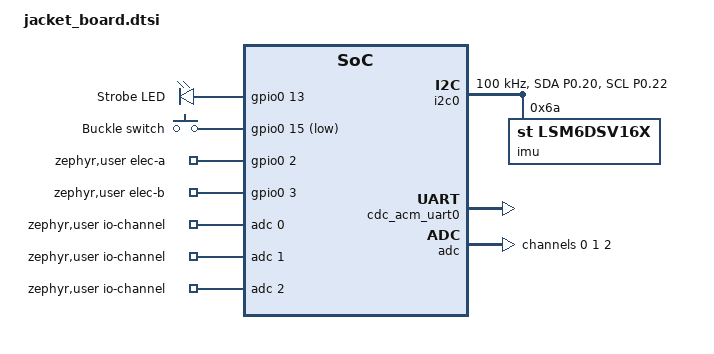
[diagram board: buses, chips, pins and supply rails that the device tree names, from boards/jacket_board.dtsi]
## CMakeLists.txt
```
#
# Smart lifejacket - E73-2G4M08S1C (nRF52840) + LSM6DSV16X
#
cmake_minimum_required(VERSION 3.20.0)

find_package(Zephyr REQUIRED HINTS $ENV{ZEPHYR_BASE})
project(smart_lifejacket)

target_sources(app PRIVATE
  src/main.c
  src/lsm6dsv16x.c
  src/imu.c
  src/water.c
  src/battery.c
  src/strobe.c
  src/jacket_adv.c
  src/jacket_shell.c
)

target_include_directories(app PRIVATE src)
```

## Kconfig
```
#
# Smart lifejacket application options
#

menu "Smart lifejacket application"

config JACKET_DEVICE_NUM
	int "Device number carried in the advertising payload (1-255)"
	default 1
	range 1 255
	help
	  V-PASS 는 이 번호를 "jacket-<n>" 장치 ID 로 매핑한다. 조끼마다
	  다르게 구워서 여러 개를 동시에 운용한다.

comment "BLE advertising"

config JACKET_ADV_INTERVAL_MS
	int "Normal advertising interval while worn [ms]"
	default 500
	help
	  V-PASS 쪽 신호 두절 판정(SIGNAL_LOSS_TIMEOUT 10 s) 대비 충분히
	  촘촘하면 된다. 500 ms 면 두절 판정 전까지 약 20 번의 수신 기회.

config JACKET_ADV_BURST_INTERVAL_MS
	int "Burst advertising interval right after a fall [ms]"
	default 100
	help
	  낙하 감지 직후 입수 전 공중 구간(0.3~0.7 s)이 사실상 마지막 송신
	  기회라서 최대한 촘촘하게 쏜다. BLE 레거시 non-connectable 광고의
	  스펙 하한이 100 ms 라 그 값을 기본으로 한다.

config JACKET_ADV_BURST_DURATION_S
	int "How long the burst rate is kept after a fall [s]"
	default 5

config JACKET_DOFF_ADV_TIMEOUT_S
	int "Keep advertising worn=0 for this long after doffing [s]"
	default 60
	help
	  탈의 알림이 유실되지 않도록 잠시 worn=0 을 계속 광고한 뒤 광고를
	  멈춘다. USB 전원이 없으면 이어서 System OFF 로 들어가고 버클이
	  다시 닫히는 순간 깨어난다.

config JACKET_STORAGE_SLEEP
	bool "Enter System OFF (storage sleep) after the doff advertising timeout"
	default y
	help
	  보관 시 소비전류를 수 µA 로 낮추는 프로덕션 동작. 비활성화하면
	  배터리 구동이어도 잠들지 않고 깨어 있는 채 광고만 멈추며, 버클을
	  다시 채우면 즉시 광고가 재개된다 — SENSE 웨이크업이 불안정한
	  보드의 디버깅이나 시연(배터리 재삽입 없이 재착용) 용도.

comment "Fall detection (IMU, software)"

config JACKET_FREEFALL_THRESHOLD_MG
	int "Free-fall acceleration magnitude threshold [mg]"
	default 400
	help
	  |a| 가 이 값보다 작은 상태가 JACKET_FREEFALL_MIN_MS 이상 이어지면
	  자유낙하(입수 낙하)로 판정한다. 정지 시 |a| ≈ 1000 mg.

config JACKET_FREEFALL_MIN_MS
	int "Minimum free-fall duration [ms]"
	default 100
	help
	  100 ms ≈ 낙하 높이 5 cm. 갑판에서 물까지는 보통 0.3 s 이상이라
	  여유가 있고, 걸음/파도 진동의 순간 저가속은 걸러진다.

config JACKET_IMPACT_THRESHOLD_MG
	int "Impact acceleration magnitude threshold [mg]"
	default 2500
	help
	  ESP8266 버전의 낙상 임계값(2.5 g)과 동일. 자유낙하 없이 크게
	  넘어지는 경우(갑판 위 낙상)를 잡는다.

config JACKET_FALL_COOLDOWN_S
	int "Minimum interval between reported fall events [s]"
	default 3

comment "Water detection (electrodes)"

config JACKET_WATER_PERIOD_MS
	int "Electrode measurement period, normal [ms]"
	default 250

config JACKET_WATER_FAST_PERIOD_MS
	int "Electrode measurement period right after a fall [ms]"
	default 50

config JACKET_WATER_FAST_WINDOW_S
	int "How long the fast rate is kept after a fall [s]"
	default 30

config JACKET_WATER_DELTA_PERMILLE
	int "Wet threshold: rise above dry baseline, in 0.1% of VDD units"
	default 20
	help
	  부팅 시 캡처한 건조 기준선 대비 증가분(Δ)이 이 값 이상이면 젖음.
	  실측(2026-08-16, 수돗물 90초 스윕): 건조 Δ 0~3‰ + 간헐 블립 최대
	  15‰, 젖음 Δ 28~55‰ (역방향 기준; 정방향은 이 보드에서 무반응).
	  기본값 20‰(2.0%VDD)는 건조 블립과 젖음 신호의 정중앙.
	  해수는 전도도가 훨씬 높아 신호가 더 크므로 그대로 잡힌다.

config JACKET_WATER_CONFIRM_COUNT
	int "Consecutive wet readings required"
	default 2

comment "MOB strobe"

config JACKET_MOB_WINDOW_S
	int "Fall→water association window for local MOB latch [s]"
	default 10
	help
	  자유낙하/충격 이벤트 후 이 시간 안에 물이 감지되면 익수 확정으로
	  보고 스트로브를 래치한다 (야간 구조용).

config JACKET_STROBE_PERIOD_MS
	int "Strobe flash period [ms]"
	default 1000
	help
	  SOLAS 구명조끼등 요구(분당 50~70회 점멸) 대역인 1 Hz.

config JACKET_STROBE_ON_MS
	int "Strobe on-time per flash [ms]"
	default 20
	help
	  20 ms 펄스 × 약 100 mA(5.1 V 레일, 22 Ω) 기준 유효광도가 SOLAS
	  0.75 cd 를 충족하는 설계값 (Blondel-Rey 보정 약 1/11). 야간 실측
	  후 시인거리가 부족하면 펄스 폭 또는 전류(R1)를 올린다.

config JACKET_STROBE_DRY_RELEASE_S
	int "Release the strobe latch after this long without water [s]"
	default 300

comment "Battery"

config JACKET_LOW_BATT_MV
	int "Low battery threshold, VDD [mV]"
	default 2200
	help
	  이 아래로 떨어지면 광고 페이로드에 low-batt 플래그를 세우고
	  스트로브 펄스 폭을 절반으로 줄여 브라운아웃을 예방한다.

module = JACKET
module-str = Smart lifejacket
source "subsys/logging/Kconfig.template.log_config"

endmenu

source "Kconfig.zephyr"
```

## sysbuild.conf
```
# 최초 SWD 플래싱 이후에는 USB-C 만으로 펌웨어를 업데이트할 수 있도록
# MCUboot 을 함께 빌드한다 (mcumgr 시리얼 리커버리).
SB_CONFIG_BOOTLOADER_MCUBOOT=y
```

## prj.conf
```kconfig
#
# Smart lifejacket - E73-2G4M08S1C (nRF52840), BLE broadcast
#

# --- Application ------------------------------------------------------------
CONFIG_MAIN_STACK_SIZE=4096
CONFIG_HEAP_MEM_POOL_SIZE=8192
CONFIG_GPIO=y
CONFIG_I2C=y
CONFIG_ADC=y
CONFIG_HWINFO=y
CONFIG_REBOOT=y
# 미착용 보관 시 System OFF (버클 닫힘 = SENSE 웨이크업)
CONFIG_POWEROFF=y
# 시연 빌드: 보관 슬립 비활성 — 잠들면 BLE/USB 가 전부 꺼지고 버클 SENSE
# 웨이크업이 실패한 사례가 있어(2026-08-29, 배터리 재삽입으로만 복구) 끈다.
# 프로덕션 빌드에서 원복: 이 줄 삭제 (Kconfig 기본값 y)
CONFIG_JACKET_STORAGE_SLEEP=n

# --- Bluetooth --------------------------------------------------------------
# 연결 없는 브로드캐스터 전용. V-PASS(라즈베리파이)가 광고 패킷만 수신한다.
CONFIG_BT=y
CONFIG_BT_BROADCASTER=y
CONFIG_BT_PERIPHERAL=n
CONFIG_BT_CENTRAL=n
CONFIG_BT_OBSERVER=n
CONFIG_BT_DEVICE_NAME="V-PASS Jacket"
# +8 dBm — 통달 거리가 안전에 직결 (nRF52840 최대 출력)
CONFIG_BT_CTLR_TX_PWR_PLUS_8=y

# --- Console / logging over the USB-C port ----------------------------------
# 콘솔·셸은 USB CDC ACM. 열거되는 COM 포트를 아무 보레이트로 열면 된다.
CONFIG_SERIAL=y
CONFIG_CONSOLE=y
CONFIG_UART_CONSOLE=y
CONFIG_UART_LINE_CTRL=y
CONFIG_USB_DEVICE_STACK=y
CONFIG_USB_DEVICE_PRODUCT="Smart Lifejacket"
CONFIG_USB_DEVICE_MANUFACTURER="SmartVPass"
CONFIG_USB_DEVICE_INITIALIZE_AT_BOOT=n

CONFIG_LOG=y
CONFIG_LOG_MODE_DEFERRED=y
CONFIG_JACKET_LOG_LEVEL_INF=y

CONFIG_SHELL=y

# --- 32.768 kHz clock source ------------------------------------------------
# E73 모듈은 32.768 kHz 크리스탈을 내장하지 않는다 (XL1/XL2 핀으로 노출).
# 이 보드에 크리스탈이 실장되지 않았다는 가정으로 내부 RC 를 쓴다 — XTAL 로
# 두면 크리스탈이 없을 때 부팅 전에 멈춘다 (선반 보드에서 실증).
# RC + 주기 캘리브레이션이면 BLE 슬립 클럭 정확도(±500 ppm)를 만족한다.
CONFIG_CLOCK_CONTROL_NRF_K32SRC_RC=y
CONFIG_CLOCK_CONTROL_NRF_K32SRC_XTAL=n
CONFIG_CLOCK_CONTROL_NRF_K32SRC_500PPM=y
```

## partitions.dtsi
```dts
/*
 * 플래시 레이아웃 — 애플리케이션과 MCUboot 이 공유한다.
 * (smart-chemical-shelf/firmware 와 동일한 구성. 배경 설명은 그쪽
 *  docs/build-and-flash.md §3.2 참고 — 어긋나면 부팅 불능.)
 *
 * 1 MB 전체:
 *   boot     0x000000 +0x014000   80K   MCUboot (USB CDC 시리얼 리커버리 포함)
 *   slot0    0x014000 +0x070000  448K   애플리케이션 (primary)
 *   slot1    0x084000 +0x070000  448K   애플리케이션 (secondary, DFU)
 *   storage  0x0f4000 +0x00c000   48K   settings/NVS
 */

&boot_partition {
	reg = <0x00000000 0x00014000>;
};

&slot0_partition {
	reg = <0x00014000 0x00070000>;
};

&slot1_partition {
	reg = <0x00084000 0x00070000>;
};

&storage_partition {
	reg = <0x000f4000 0x0000c000>;
};
```

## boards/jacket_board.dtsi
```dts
/*
 * 스마트 구명조끼 보드 (E73-2G4M08S1C / nRF52840) 공통 디바이스트리.
 *
 * 메인 펌웨어와 tests/ 의 테스트 앱이 같이 include 한다. 빌드 타깃은
 * nRF52840 DK 보드 정의이고, 모듈이 다르게 쓰는 핀은 전부 여기서 덮어쓴다.
 *
 * ── 핀맵 (2026-08-15 실보드 확인) ───────────────────────────────────────
 *
 *   P0.13  LED_EN        단일 핀 — 부스트 EN + LED 스위치 공통. High = 점등
 *                        (실기기 점등 확인 완료. LED 계통 전원은 배터리(VBAT)
 *                        — 배터리 미장착 시 nRF 가 살아 있어도 LED 는 안 켜짐)
 *   P0.02  전극 A        AIN0, 물 감지 (47k 직렬 + 470k 풀다운 + PESD TVS)
 *   P0.03  전극 B        AIN1, 물 감지 (동일 회로, 극성 교대 구동)
 *   P0.15  버클 스위치   COM-NO 마이크로스위치, 내부 풀업, 착용=닫힘=LOW
 *   P0.20  IMU SDA       LSM6DSV16X, 4.7k 풀업, SA0=GND(0x6A), CS=VDD
 *   P0.22  IMU SCL
 *   (INT1  자유낙하 인터럽트 — 현재 펌웨어는 폴링 방식이라 미사용)
 *
 * 전원: AA 1.5V ×2 직렬 → Q1(역삽입 보호) → VBAT → D2(쇼트키) → VDD_SYS.
 * 선반 보드와 달리 VDDH 를 쓰지 않는 normal-voltage 모드라서 UICR.REGOUT0
 * 설정이 필요 없다. 배터리 전압은 SAADC 내부 VDD 채널로 무저항 측정.
 */

#include <zephyr/dt-bindings/gpio/gpio.h>
#include <zephyr/dt-bindings/adc/nrf-adc.h>

/ {
	aliases {
		strobe-led = &strobe_led;
		buckle-sw = &buckle_sw;
	};

	jacket_leds: jacket-leds {
		compatible = "gpio-leds";

		strobe_led: strobe-led {
			/*
			 * LED_EN 단일 핀이 부스트 EN 과 LED 경로를 함께 제어한다.
			 * High = 점등. 풀다운이 있어 리셋·슬립 중에는 확실히 꺼진다.
			 * (2026-08-15 실기기 점등 확인)
			 */
			gpios = <&gpio0 13 GPIO_ACTIVE_HIGH>;
			label = "Strobe LED";
		};
	};

	jacket_buttons: jacket-buttons {
		compatible = "gpio-keys";

		buckle_sw: buckle-sw {
			/*
			 * 마이크로스위치 COM-NO 배선: 버클을 채우면(착용) 닫혀서 핀이
			 * GND 로 떨어진다. 외부 풀업 없음 — nRF52840 내부 풀업(~13k)
			 * 사용 (보드에는 직렬 1k + 100nF 필터만 있음). 스위치 열림
			 * (보관) 상태에서는 풀업 전류가 0 이라 전지를 먹지 않는다.
			 */
			gpios = <&gpio0 15 (GPIO_ACTIVE_LOW | GPIO_PULL_UP)>;
			label = "Buckle switch";
		};
	};

	zephyr,user {
		/*
		 * 물 감지 전극. 평상시 두 핀 모두 하이임피던스로 두고, 측정할 때만
		 * 한쪽을 High 구동 + 반대쪽을 ADC 로 읽은 뒤 극성을 교대한다
		 * (전기분해 부식 방지 — water.c 참고). 젖으면 비구동 전극이
		 * 0.7×VDD 이상으로 뜨고, 마르면 470k 풀다운 때문에 0V.
		 */
		elec-a-gpios = <&gpio0 2 GPIO_ACTIVE_HIGH>;
		elec-b-gpios = <&gpio0 3 GPIO_ACTIVE_HIGH>;

		/* 0: 배터리(VDD), 1: 전극 A(AIN0), 2: 전극 B(AIN1) */
		io-channels = <&adc 0>, <&adc 1>, <&adc 2>;
	};

	chosen {
		zephyr,console = &cdc_acm_uart0;
		zephyr,shell-uart = &cdc_acm_uart0;
	};
};

/*
 * 모듈 보드에는 UART 배선이 없다. 콘솔/셸은 전부 USB CDC ACM.
 */
&uart0 {
	status = "disabled";
};

&uart1 {
	status = "disabled";
};

/*
 * REG0 은 VDDH→VDD 고전압 레귤레이터. 이 보드는 AA 2셀이 VDD 로 직접
 * 들어가는 normal-voltage 모드라 REG0 을 쓰지 않지만, DK 보드 정의가
 * 노드를 켜두면 soc.c 가 DC/DC(인덕터 필요)를 활성화하므로 꺼둔다.
 * (선반 보드에서 실제로 VDD 1.8V 붕괴를 일으켰던 항목 — 그쪽 §10.2)
 */
&reg0 {
	status = "disabled";
};

&i2c0 {
	compatible = "nordic,nrf-twim";
	status = "okay";
	clock-frequency = <I2C_BITRATE_STANDARD>; /* 100k — 배선 마진 우선 */
	pinctrl-0 = <&i2c0_jacket_default>;
	pinctrl-1 = <&i2c0_jacket_sleep>;
	pinctrl-names = "default", "sleep";

	imu: lsm6dsv16x@6a {
		/* SA0=GND → 0x6A, CS=VDD → I2C 모드. 자체 경량 드라이버 사용
		 * (src/lsm6dsv16x.c) — Zephyr 인트리 드라이버는 켜지 않는다. */
		compatible = "st,lsm6dsv16x";
		reg = <0x6a>;
	};
};

&pinctrl {
	i2c0_jacket_default: i2c0_jacket_default {
		group1 {
			psels = <NRF_PSEL(TWIM_SDA, 0, 20)>,
				<NRF_PSEL(TWIM_SCL, 0, 22)>;
		};
	};

	i2c0_jacket_sleep: i2c0_jacket_sleep {
		group1 {
			psels = <NRF_PSEL(TWIM_SDA, 0, 20)>,
				<NRF_PSEL(TWIM_SCL, 0, 22)>;
			low-power-enable;
		};
	};
};

&spi1 {
	status = "disabled";
};

/* DK 의 MX25R64 QSPI 플래시는 이 보드에 없다 (부팅마다 JEDEC id 에러 방지). */
&mx25r64 {
	status = "disabled";
};

&qspi {
	status = "disabled";
};

&zephyr_udc0 {
	cdc_acm_uart0: cdc_acm_uart0 {
		compatible = "zephyr,cdc-acm-uart";
	};
};

&adc {
	status = "okay";
	#address-cells = <1>;
	#size-cells = <0>;

	/*
	 * 채널 0 — 배터리. SAADC 내부 VDD 입력, 게인 1/6 + 내부 0.6V 기준
	 * → 풀스케일 3.6V. AA 리튬 2셀(최대 3.6V)이 정확히 들어온다.
	 * 분압 저항이 없어 대기 소모 0.
	 */
	channel@0 {
		reg = <0>;
		zephyr,gain = "ADC_GAIN_1_6";
		zephyr,reference = "ADC_REF_INTERNAL";
		zephyr,acquisition-time = <ADC_ACQ_TIME(ADC_ACQ_TIME_MICROSECONDS, 40)>;
		zephyr,input-positive = <NRF_SAADC_VDD>;
		zephyr,resolution = <12>;
		zephyr,oversampling = <4>;
	};

	/*
	 * 채널 1/2 — 물 감지 전극. 기준을 VDD/4 로 잡아 레이시오메트릭 측정
	 * (풀스케일 = VDD). 전극을 VDD 로 구동하므로 배터리 전압이 얼마든
	 * "VDD 대비 몇 %" 로 읽혀 임계값이 전압 변동과 무관해진다.
	 */
	/*
	 * 획득 시간 40 µs: 전극 노드의 소스 임피던스가 수백 kΩ(470k 풀다운,
	 * 젖어도 47k+Rw+47k)라 nRF52 SAADC 최장 획득 시간이 필요하다.
	 * 10 µs 로는 샘플 캐패시터가 충전되지 못해 이전 변환의 잔류 전하가
	 * 그대로 읽힌다 (실측: 건조 상태에서 78% 고정 + 톱니 감쇠 패턴).
	 */
	channel@1 {
		reg = <1>;
		zephyr,gain = "ADC_GAIN_1_4";
		zephyr,reference = "ADC_REF_VDD_1_4";
		zephyr,acquisition-time = <ADC_ACQ_TIME(ADC_ACQ_TIME_MICROSECONDS, 40)>;
		zephyr,input-positive = <NRF_SAADC_AIN0>;	/* P0.02 */
		zephyr,resolution = <10>;
	};

	channel@2 {
		reg = <2>;
		zephyr,gain = "ADC_GAIN_1_4";
		zephyr,reference = "ADC_REF_VDD_1_4";
		zephyr,acquisition-time = <ADC_ACQ_TIME(ADC_ACQ_TIME_MICROSECONDS, 40)>;
		zephyr,input-positive = <NRF_SAADC_AIN1>;	/* P0.03 */
		zephyr,resolution = <10>;
	};
};
```

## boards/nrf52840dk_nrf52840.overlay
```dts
/*
 * 메인 펌웨어용 오버레이 — 공통 보드 정의 + MCUboot 플래시 레이아웃.
 * 핀맵과 주변장치 설정은 jacket_board.dtsi 한 곳에서 관리한다.
 */

#include "jacket_board.dtsi"

/* MCUboot 과 애플리케이션이 합의해야 하는 플래시 레이아웃 */
#include "../partitions.dtsi"
```

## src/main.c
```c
/* ── 스마트 구명조끼 펌웨어 (E73-2G4M08S1C / nRF52840, BLE) ────────────────
 *
 * ESP8266 + WiFi/HTTP 버전을 BLE 브로드캐스트로 교체한 것. V-PASS(라즈베리
 * 파이)는 연결 없이 광고 패킷만 수신한다 (수중 전파 차단 = 신호 두절 원리).
 *
 *   1) 버클 스위치 닫힘 = 착용 → worn=1 광고를 주기 송출 (광고 자체가 핑)
 *   2) IMU 자유낙하/충격 감지 → 낙하 카운터 증가 + 고속 광고 버스트.
 *      이후 V-PASS 가 신호 두절을 확인하면 익수 판정 → 킬스위치 + 자동 신고
 *   3) 낙하 후 물 감지(전극) → 로컬 익수 확정 → LED 스트로브 (야간 구조)
 *
 * 원칙 (회로 설계 대화에서 확정): 1차 익수 판정은 항상 "신호 소실 타임아웃"
 * (V-PASS 측)이고, 낙하 버스트·물 플래그는 판정을 앞당기는 가속기일 뿐이다.
 * 어떤 패킷이 유실되어도 최종 결과는 틀리지 않는다.
 * ──────────────────────────────────────────────────────────────────────── */

#include "jacket.h"
#include "jacket_adv.h"
#include "imu.h"
#include "water.h"
#include "strobe.h"
#include "battery.h"

#include <zephyr/kernel.h>
#include <zephyr/drivers/gpio.h>
#include <zephyr/usb/usb_device.h>
#include <zephyr/sys/poweroff.h>
#include <zephyr/logging/log.h>
#include <hal/nrf_power.h>

LOG_MODULE_REGISTER(jacket, CONFIG_JACKET_LOG_LEVEL);

#define TICK_MS 100

static const struct gpio_dt_spec buckle =
	GPIO_DT_SPEC_GET(DT_ALIAS(buckle_sw), gpios);

/* ── 상태 ── */
static struct {
	bool worn;
	bool mob;		/* 낙하+물 로컬 래치 */
	bool low_batt;
	uint8_t seq;
	uint8_t fall_count;
	uint8_t fall_mag_dg;
	int batt_mv;
	int64_t fall_ms;	/* 마지막 낙하 이벤트 시각 (0 = 없음) */
	int64_t doff_ms;	/* 탈의 시각 (0 = 착용 중/해당 없음) */
	int64_t burst_until_ms;
	int64_t fall_flag_until_ms;
} st;
static K_MUTEX_DEFINE(st_lock);

static K_SEM_DEFINE(fall_sem, 0, 1);
static uint32_t fall_peak_mg;
static bool fall_was_freefall;

/* IMU 스레드 컨텍스트 — 기록만 하고 처리는 메인 루프에서 */
static void on_fall_event(uint32_t peak_mg, bool freefall)
{
	fall_peak_mg = peak_mg;
	fall_was_freefall = freefall;
	k_sem_give(&fall_sem);
}

void jacket_simulate_fall(void)
{
	on_fall_event(3200, true);
}

static bool usb_powered(void)
{
	return nrf_power_usbregstatus_vbusdet_get(NRF_POWER);
}

static void adv_push(void)
{
	struct jacket_adv_status a;
	int64_t now = k_uptime_get();

	k_mutex_lock(&st_lock, K_FOREVER);
	a.flags = (st.worn ? JACKET_FLAG_WORN : 0) |
		  (water_wet() ? JACKET_FLAG_WATER : 0) |
		  (now < st.fall_flag_until_ms ? JACKET_FLAG_FALL : 0) |
		  (st.low_batt ? JACKET_FLAG_LOW_BATT : 0) |
		  (strobe_active() ? JACKET_FLAG_STROBE : 0);
	a.seq = st.seq;
	a.fall_count = st.fall_count;
	a.fall_mag_dg = st.fall_mag_dg;
	a.batt_mv = (uint16_t)MAX(st.batt_mv, 0);
	k_mutex_unlock(&st_lock);

	jacket_adv_update(&a);
}

static void handle_fall(void)
{
	int64_t now = k_uptime_get();

	k_mutex_lock(&st_lock, K_FOREVER);
	if (!st.worn) {
		/* 미착용 상태의 충격(운반 등)은 무시 — ESP 버전과 동일 */
		k_mutex_unlock(&st_lock);
		return;
	}
	st.fall_count++;
	st.fall_mag_dg = (uint8_t)MIN(fall_peak_mg / 100, 255);
	st.fall_ms = now;
	st.fall_flag_until_ms = now + 30 * 1000;
	st.burst_until_ms = now + CONFIG_JACKET_ADV_BURST_DURATION_S * 1000;
	k_mutex_unlock(&st_lock);

	LOG_WRN("낙하 이벤트 #%u (%s, %u.%u g) — 광고 버스트 시작",
		st.fall_count, fall_was_freefall ? "자유낙하" : "충격",
		fall_peak_mg / 1000, (fall_peak_mg % 1000) / 100);

	/* 입수 전 공중 구간이 마지막 송신 기회 — 즉시 갱신 + 고속 광고 */
	adv_push();
	jacket_adv_set_mode(JACKET_ADV_BURST);
	water_boost();
}

static void enter_storage_sleep(void)
{
	LOG_INF("System OFF — 버클이 닫히면 깨어남");
	/* 로그가 나가도록 잠시 대기 */
	k_msleep(100);
	jacket_adv_set_mode(JACKET_ADV_OFF);
	/* 스위치 핀 SENSE 웨이크업 (착용 = active) */
	gpio_pin_interrupt_configure_dt(&buckle, GPIO_INT_LEVEL_ACTIVE);
	sys_poweroff();
}

void jacket_get_snapshot(struct jacket_snapshot *out)
{
	k_mutex_lock(&st_lock, K_FOREVER);
	out->worn = st.worn;
	out->water = water_wet();
	out->mob = st.mob;
	out->low_batt = st.low_batt;
	out->fall_count = st.fall_count;
	out->fall_mag_dg = st.fall_mag_dg;
	out->batt_mv = (uint16_t)MAX(st.batt_mv, 0);
	out->seq = st.seq;
	k_mutex_unlock(&st_lock);
}

int main(void)
{
	int err = usb_enable(NULL);

	if (err && err != -EALREADY) {
		/* USB 없이도(현장 배터리 구동) 계속 동작해야 한다 */
		LOG_WRN("usb_enable 실패 (%d)", err);
	}

	LOG_INF("스마트 구명조끼 펌웨어 시작 (장치 번호 %d)",
		CONFIG_JACKET_DEVICE_NUM);

	if (!gpio_is_ready_dt(&buckle)) {
		LOG_ERR("버클 스위치 GPIO 준비 안 됨");
	} else {
		gpio_pin_configure_dt(&buckle, GPIO_INPUT);
	}

	strobe_init();
	battery_init();
	if (water_init() == 0) {
		water_start();
	} else {
		LOG_ERR("물 감지 초기화 실패");
	}
	if (imu_init() == 0) {
		imu_start(on_fall_event);
	} else {
		LOG_ERR("IMU 초기화 실패 — 낙하 감지 비활성 (셸 jacket fall 로 시험 가능)");
	}
	if (jacket_adv_init() != 0) {
		LOG_ERR("BLE 초기화 실패");
	}

	st.batt_mv = battery_read_mv();

	/* System OFF 에서 버클 닫힘으로 깨어난 직후라면 곧바로 착용 처리된다 */
	int sw_stable = -1;		/* 디바운스된 스위치 값 */
	int sw_last_raw = -1;
	int sw_same_ticks = 0;
	int64_t last_1s = 0;
	int64_t last_batt = 0;

	while (true) {
		k_msleep(TICK_MS);
		int64_t now = k_uptime_get();

		/* ── 버클 스위치 디바운스 (3틱 = 300 ms) ── */
		int raw = gpio_pin_get_dt(&buckle);	/* 1 = 착용(닫힘) */

		if (raw == sw_last_raw) {
			sw_same_ticks++;
		} else {
			sw_same_ticks = 0;
			sw_last_raw = raw;
		}

		if (sw_same_ticks >= 3 && raw >= 0 && raw != sw_stable) {
			sw_stable = raw;
			k_mutex_lock(&st_lock, K_FOREVER);
			st.worn = (raw == 1);
			if (st.worn) {
				st.doff_ms = 0;
				st.fall_ms = 0;
				st.mob = false;
			} else {
				st.doff_ms = now;
				st.mob = false;
			}
			k_mutex_unlock(&st_lock);

			if (raw == 1) {
				/* 착용 확인은 V-PASS UI 로 충분 — 별도 점등 없음 */
				LOG_INF("착용됨 — 광고 시작");
				jacket_adv_set_mode(JACKET_ADV_NORMAL);
				adv_push();
			} else {
				LOG_INF("탈의됨 — %d초 후 광고 종료",
					CONFIG_JACKET_DOFF_ADV_TIMEOUT_S);
				strobe_set(false);
				jacket_adv_set_mode(JACKET_ADV_NORMAL);
				adv_push();
			}
		}

		/* ── 낙하 이벤트 처리 ── */
		if (k_sem_take(&fall_sem, K_NO_WAIT) == 0) {
			handle_fall();
		}

		/* ── 버스트 종료 ── */
		k_mutex_lock(&st_lock, K_FOREVER);
		bool worn = st.worn;
		bool burst_over = st.burst_until_ms &&
				  now >= st.burst_until_ms;
		if (burst_over) {
			st.burst_until_ms = 0;
		}
		int64_t fall_ms = st.fall_ms;
		int64_t doff_ms = st.doff_ms;
		bool mob = st.mob;
		k_mutex_unlock(&st_lock);

		if (burst_over && jacket_adv_mode() == JACKET_ADV_BURST) {
			jacket_adv_set_mode(JACKET_ADV_NORMAL);
		}

		/* ── 로컬 익수 확정: 낙하 후 윈도 안에 물 감지 → 스트로브 ── */
		if (worn && !mob && fall_ms && water_wet() &&
		    now - fall_ms <= CONFIG_JACKET_MOB_WINDOW_S * 1000) {
			k_mutex_lock(&st_lock, K_FOREVER);
			st.mob = true;
			k_mutex_unlock(&st_lock);
			LOG_WRN("익수 확정 (낙하+물) — 스트로브 시작");
			strobe_set(true);
			adv_push();
		}

		/* 스트로브 해제: 물이 오래 마르면 (구조 완료 추정) */
		if (mob && strobe_active()) {
			int64_t wet_ms = water_last_wet_ms();

			if (wet_ms &&
			    now - wet_ms >
				    CONFIG_JACKET_STROBE_DRY_RELEASE_S * 1000) {
				LOG_INF("건조 지속 — 스트로브 해제");
				strobe_set(false);
				k_mutex_lock(&st_lock, K_FOREVER);
				st.mob = false;
				k_mutex_unlock(&st_lock);
			}
		}

		/* ── 탈의 후 유예 광고 종료 → 보관 슬립 ── */
		if (!worn && doff_ms &&
		    now - doff_ms > CONFIG_JACKET_DOFF_ADV_TIMEOUT_S * 1000) {
			jacket_adv_set_mode(JACKET_ADV_OFF);
			k_mutex_lock(&st_lock, K_FOREVER);
			st.doff_ms = 0;
			k_mutex_unlock(&st_lock);
			if (!IS_ENABLED(CONFIG_JACKET_STORAGE_SLEEP)) {
				LOG_INF("보관 슬립 비활성 — 깨어 있음 (버클 닫으면 광고 재개)");
			} else if (!usb_powered()) {
				enter_storage_sleep();	/* 복귀하지 않음 */
			} else {
				LOG_INF("USB 전원 감지 — 슬립 생략 (개발 모드)");
			}
		}

		/* ── 1초 주기: 시퀀스/배터리 갱신 + 광고 데이터 푸시 ── */
		if (now - last_1s >= 1000) {
			last_1s = now;
			k_mutex_lock(&st_lock, K_FOREVER);
			st.seq++;
			if (now - last_batt >= 30 * 1000 || last_batt == 0) {
				last_batt = now;
				int mv = battery_read_mv();

				if (mv > 0) {
					st.batt_mv = mv;
					st.low_batt =
						mv < CONFIG_JACKET_LOW_BATT_MV;
					strobe_set_low_batt(st.low_batt);
				}
			}
			k_mutex_unlock(&st_lock);
			if (jacket_adv_mode() != JACKET_ADV_OFF) {
				adv_push();
			}
		}
	}
	return 0;
}
```

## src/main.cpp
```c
#include <ESP8266WiFi.h>
#include <ESP8266HTTPClient.h>
#include <WiFiClient.h>
#include <Wire.h>
#include "MPU9250.h"
#include "config.h"

// Default configuration if not defined in config.h
#ifndef DEVICE_ID
#define DEVICE_ID "DEFAULT_DEVICE"
#endif
#ifndef SERVER_URL
#define SERVER_URL "http://localhost:3000"
#endif
#ifndef WIFI_SSID
#define WIFI_SSID ""
#endif
#ifndef WIFI_PASSWORD
#define WIFI_PASSWORD ""
#endif

// ── 스마트 구명조끼 펌웨어 ───────────────────────────────────────────────
// 기능
//   1) 외장 스위치를 누르면 "착용 여부"를 토글 → 서버에 알림
//   2) 착용 상태이면 3초에 한 번씩 서버로 ping(생존 신호)을 보냄
//   3) MPU9250 으로 큰 낙상(운동량 급변)을 감지하면 서버에 넘어짐을 알림
//
// ESP8266 은 esp32-tutorial 과 마찬가지로 "서버를 보는 하나의 클라이언트"이며,
// 상태 변화는 모두 HTTP 요청으로 서버에 전달합니다.
// ────────────────────────────────────────────────────────────────────────

// ── 핀 배치 (esp12e / NodeMCU 기준) ──
const int SWITCH_PIN = 14;  // D5, 외장 스위치 (INPUT_PULLUP: 누르면 LOW)
const int LED_PIN    = 2;   // D4, 보드 내장 LED (착용 상태 표시, active-LOW)
const int SDA_PIN    = 4;   // D2, MPU9250 SDA
const int SCL_PIN    = 5;   // D1, MPU9250 SCL

// ── 동작 파라미터 ──
const unsigned long PING_INTERVAL   = 3000;  // 착용 중 ping 주기 (3초)
const unsigned long DEBOUNCE_MS     = 50;    // 스위치 채터링 제거 시간
const unsigned long FALL_COOLDOWN   = 3000;  // 낙상 재감지 최소 간격
const float         FALL_THRESHOLD  = 2.5;   // 낙상으로 볼 가속도 크기 (g)
const unsigned long WEARING_RETRY_MS = 2000; // wearing 전송 실패 시 재시도 간격

// ── 상태 변수 ──
MPU9250 mpu;
bool worn = false;                 // 착용 여부
bool wearingSynced = true;         // 서버가 현재 worn 값을 알고 있는지
unsigned long lastWearingTry = 0;  // 마지막 wearing 전송 시각
unsigned long lastPing = 0;        // 마지막 ping 시각
unsigned long lastFall = 0;        // 마지막 낙상 감지 시각

int  lastSwitchReading = HIGH;     // 직전 원시 스위치 값
int  switchState       = HIGH;     // 디바운스된 스위치 값
unsigned long lastSwitchChange = 0;

int  mpuFailCount = 0;             // MPU 연속 응답 실패 횟수 (버스 복구 판단용)

// I2C 를 (재)초기화하며 안정적인 속도로 설정.
void i2cInit() {
  Wire.begin(SDA_PIN, SCL_PIN);
  Wire.setClock(100000);           // 400k→100k: 브레드보드/긴 배선에서 훨씬 안정적
  Wire.setClockStretchLimit(2000); // MPU 클럭 스트레칭 여유
}

// 버스가 멈췄을 때(슬레이브가 SDA 를 LOW 로 붙잡음) SCL 을 수동으로 9번 흔들어
// 슬레이브를 강제로 놓아주고 I2C 를 다시 시작합니다.
void i2cRecover() {
  pinMode(SDA_PIN, INPUT_PULLUP);
  pinMode(SCL_PIN, OUTPUT);
  for (int i = 0; i < 9; i++) {
    digitalWrite(SCL_PIN, HIGH); delayMicroseconds(5);
    digitalWrite(SCL_PIN, LOW);  delayMicroseconds(5);
  }
  pinMode(SCL_PIN, INPUT_PULLUP);
  i2cInit();
}

// 서버로 JSON POST 를 보내고 성공 여부를 돌려줍니다.
bool postJson(const String &path, const String &json) {
  if (WiFi.status() != WL_CONNECTED) return false;
  HTTPClient http;
  WiFiClient client;
  http.begin(client, String(SERVER_URL) + path);
  http.addHeader("Content-Type", "application/json");
  int code = http.POST(json);
  http.end();
  if (code > 0) {
    Serial.printf("POST %s -> %d\n", path.c_str(), code);
    return code == 200;
  }
  Serial.printf("POST %s 실패 — 서버 주소/실행/방화벽 확인\n", path.c_str());
  return false;
}

// 현재 착용 상태를 서버에 전송. 실패하면 handleWearingSync 가 재시도한다.
void sendWearing() {
  lastWearingTry = millis();
  wearingSynced = postJson(
      "/api/wearing",
      String("{\"device\":\"") + DEVICE_ID + "\",\"worn\":" + (worn ? "true" : "false") + "}");
  if (!wearingSynced) Serial.println("wearing 전송 실패 — 재시도 예약");
}

// 착용 상태를 토글하고 서버 + LED 에 반영
void toggleWorn() {
  worn = !worn;
  digitalWrite(LED_PIN, worn ? LOW : HIGH);  // active-LOW: 착용 시 점등
  Serial.println(worn ? "착용됨" : "미착용");
  sendWearing();
  if (worn) lastPing = millis() - PING_INTERVAL;  // 착용 즉시 첫 ping 전송
}

// wearing 전송이 실패한 채면 성공할 때까지 주기적으로 재시도한다.
// 탈의 알림이 유실되면 서버가 착용으로 오인한 채 ping 만 끊겨
// 익수 오경보(signal_loss)가 나므로, 반드시 최신 상태를 동기화한다.
void handleWearingSync() {
  if (wearingSynced) return;
  if (millis() - lastWearingTry >= WEARING_RETRY_MS) sendWearing();
}

// 외장 스위치를 읽어 눌림(HIGH->LOW)에서 착용 상태 토글 (디바운스 포함)
void handleSwitch() {
  int reading = digitalRead(SWITCH_PIN);
  if (reading != lastSwitchReading) {
    lastSwitchChange = millis();
    lastSwitchReading = reading;
  }
  if (millis() - lastSwitchChange > DEBOUNCE_MS && reading != switchState) {
    switchState = reading;
    if (switchState == LOW) toggleWorn();  // 눌린 순간에만 토글
  }
}

// 착용 중이면 3초마다 ping 전송
void handlePing() {
  if (!worn) return;
  if (millis() - lastPing >= PING_INTERVAL) {
    lastPing = millis();
    postJson("/api/ping", String("{\"device\":\"") + DEVICE_ID + "\"}");
  }
}

// MPU9250 로 큰 낙상(가속도 크기 급변)을 감지하면 서버에 알림 (착용 중에만 동작)
void handleFall() {
  if (!worn) return;
  if (!mpu.update()) {
    // 응답이 계속 없으면 버스가 멈춘 것으로 보고 복구 + 재초기화 시도
    if (++mpuFailCount >= 100) {
      mpuFailCount = 0;
      Serial.println("MPU 응답 없음 — I2C 버스 복구 시도");
      i2cRecover();
      mpu.setup(0x68);
    }
    return;
  }
  mpuFailCount = 0;

  float ax = mpu.getAccX();
  float ay = mpu.getAccY();
  float az = mpu.getAccZ();
  float mag = sqrt(ax * ax + ay * ay + az * az);  // 정지 시 약 1g

  if (mag > FALL_THRESHOLD && millis() - lastFall > FALL_COOLDOWN) {
    lastFall = millis();
    Serial.printf("낙상 감지! 가속도 크기 = %.2f g\n", mag);
    postJson("/api/fall",
             String("{\"device\":\"") + DEVICE_ID + "\",\"magnitude\":" + String(mag, 2) + "}");
  }
}

void setup() {
  Serial.begin(115200);
  pinMode(SWITCH_PIN, INPUT_PULLUP);
  pinMode(LED_PIN, OUTPUT);
  digitalWrite(LED_PIN, HIGH);  // 시작은 미착용 → 소등

  // WiFi 연결 (esp32-tutorial 과 동일)
  WiFi.begin(WIFI_SSID, WIFI_PASSWORD);
  Serial.print("WiFi 연결 중");
  while (WiFi.status() != WL_CONNECTED) {
    delay(500);
    Serial.print(".");
  }
  Serial.println("\n연결됨, IP: " + WiFi.localIP().toString());

  // MPU9250 초기화
  i2cInit();
  if (!mpu.setup(0x68)) {
    Serial.println("MPU9250 을 찾지 못했습니다 — 배선(SDA/SCL/전원)을 확인하세요.");
  } else {
    Serial.println("MPU9250 준비 완료");
  }
}

void loop() {
  handleSwitch();
  handleWearingSync();
  handlePing();
  handleFall();
}
```

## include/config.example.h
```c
#pragma once

// 이 파일을 config.h 로 복사한 뒤 본인 환경에 맞게 수정하세요.
//   cp config.example.h config.h   (Windows: copy config.example.h config.h)
#define WIFI_SSID     "your-wifi-name"
#define WIFI_PASSWORD "your-wifi-password"

// FastAPI 서버를 실행하는 PC 의 IP 주소와 포트.
// 예: PC IP 가 192.168.0.10 이면 "http://192.168.0.10:8000"
#define SERVER_URL    "http://192.168.0.10:8000"

// 이 구명조끼(사람)를 구분하는 이름. 서버 화면에 표시됩니다.
#define DEVICE_ID     "jacket-1"
```

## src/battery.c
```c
#include "battery.h"

#include <zephyr/kernel.h>
#include <zephyr/drivers/adc.h>
#include <zephyr/logging/log.h>

LOG_MODULE_REGISTER(battery, CONFIG_JACKET_LOG_LEVEL);

/* zephyr,user io-channels: 0 = VDD (게인 1/6, 내부 0.6V 기준 → FS 3.6V) */
static const struct adc_dt_spec vdd_ch =
	ADC_DT_SPEC_GET_BY_IDX(DT_PATH(zephyr_user), 0);

int battery_init(void)
{
	if (!adc_is_ready_dt(&vdd_ch)) {
		LOG_ERR("SAADC 준비 안 됨");
		return -ENODEV;
	}
	return adc_channel_setup_dt(&vdd_ch);
}

int battery_read_mv(void)
{
	int16_t buf;
	struct adc_sequence seq = {
		.buffer = &buf,
		.buffer_size = sizeof(buf),
	};
	int err = adc_sequence_init_dt(&vdd_ch, &seq);

	err = err ? err : adc_read_dt(&vdd_ch, &seq);
	if (err) {
		return err;
	}
	if (buf < 0) {
		buf = 0;
	}
	/* 12비트, 풀스케일 3.6 V */
	return ((int32_t)buf * 3600) / 4096;
}
```

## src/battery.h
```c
/* 배터리(VDD) 전압 측정 — SAADC 내부 VDD 채널, 분압 저항 없음. */
#ifndef BATTERY_H_
#define BATTERY_H_

#include <stdint.h>

int battery_init(void);

/* VDD 를 mV 로 반환. 실패 시 음수(-errno). */
int battery_read_mv(void);

#endif /* BATTERY_H_ */
```

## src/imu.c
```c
#include "imu.h"
#include "lsm6dsv16x.h"

#include <math.h>
#include <string.h>

#include <zephyr/kernel.h>
#include <zephyr/logging/log.h>

LOG_MODULE_REGISTER(imu, CONFIG_JACKET_LOG_LEVEL);

#define SAMPLE_PERIOD_MS 16	/* 60 Hz ODR 에 맞춘 폴링 주기 */

static imu_fall_cb_t fall_cb;
static bool ok;

static struct k_spinlock last_lock;
static int32_t last_mg[3];
static uint32_t last_mag;

static K_THREAD_STACK_DEFINE(imu_stack, 1536);
static struct k_thread imu_thread;

static uint32_t magnitude_mg(const int32_t mg[3])
{
	int64_t s = (int64_t)mg[0] * mg[0] + (int64_t)mg[1] * mg[1] +
		    (int64_t)mg[2] * mg[2];

	return (uint32_t)sqrt((double)s);
}

static void imu_loop(void *a, void *b, void *c)
{
	ARG_UNUSED(a); ARG_UNUSED(b); ARG_UNUSED(c);

	int32_t mg[3];
	int ff_ms = 0;		/* 자유낙하 지속 시간 누적 */
	bool ff_reported = false;
	int64_t last_event_ms = -CONFIG_JACKET_FALL_COOLDOWN_S * 1000;
	uint32_t peak = 0;
	int fail = 0;

	while (true) {
		k_msleep(SAMPLE_PERIOD_MS);

		int err = lsm6dsv16x_read_mg(mg);

		if (err == -EAGAIN) {
			continue;
		}
		if (err) {
			/* 버스가 계속 죽어 있으면 재초기화 시도 */
			if (++fail >= 100) {
				fail = 0;
				LOG_WRN("IMU 응답 없음 — 재초기화");
				ok = (lsm6dsv16x_init() == 0);
			}
			continue;
		}
		fail = 0;

		uint32_t mag = magnitude_mg(mg);

		K_SPINLOCK(&last_lock) {
			memcpy(last_mg, mg, sizeof(last_mg));
			last_mag = mag;
		}

		int64_t now = k_uptime_get();
		bool cooldown = now - last_event_ms <
				CONFIG_JACKET_FALL_COOLDOWN_S * 1000;

		peak = MAX(peak, mag);

		/* 자유낙하: 저가속 상태 지속 시간 측정 */
		if (mag < CONFIG_JACKET_FREEFALL_THRESHOLD_MG) {
			ff_ms += SAMPLE_PERIOD_MS;
			if (ff_ms >= CONFIG_JACKET_FREEFALL_MIN_MS &&
			    !ff_reported && !cooldown) {
				ff_reported = true;
				last_event_ms = now;
				LOG_WRN("자유낙하 감지 (%d ms)", ff_ms);
				if (fall_cb) {
					fall_cb(MAX(peak, 1000), true);
				}
				peak = 0;
			}
		} else if (mag > 800) {
			/* 정상 중력 부근으로 복귀 → 다음 낙하 감지 준비 */
			ff_ms = 0;
			ff_reported = false;
		}

		/* 충격 (갑판 낙상 등) */
		if (mag > CONFIG_JACKET_IMPACT_THRESHOLD_MG && !cooldown) {
			last_event_ms = now;
			LOG_WRN("충격 감지 (%u mg)", mag);
			if (fall_cb) {
				fall_cb(mag, false);
			}
			peak = 0;
		}
	}
}

int imu_init(void)
{
	int err = lsm6dsv16x_init();

	ok = (err == 0);
	return err;
}

void imu_start(imu_fall_cb_t on_fall)
{
	fall_cb = on_fall;
	k_thread_create(&imu_thread, imu_stack,
			K_THREAD_STACK_SIZEOF(imu_stack),
			imu_loop, NULL, NULL, NULL,
			K_PRIO_PREEMPT(6), 0, K_NO_WAIT);
	k_thread_name_set(&imu_thread, "imu");
}

bool imu_ok(void)
{
	return ok;
}

void imu_last(int32_t mg[3], uint32_t *mag_mg)
{
	K_SPINLOCK(&last_lock) {
		if (mg) {
			memcpy(mg, last_mg, sizeof(last_mg));
		}
		if (mag_mg) {
			*mag_mg = last_mag;
		}
	}
}
```

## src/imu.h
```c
/* IMU 낙하 감지 — 60 Hz 폴링 + 소프트웨어 판정.
 *
 * 자유낙하: |a| < CONFIG_JACKET_FREEFALL_THRESHOLD_MG 가
 *           CONFIG_JACKET_FREEFALL_MIN_MS 이상 지속 (입수 낙하)
 * 충격:     |a| > CONFIG_JACKET_IMPACT_THRESHOLD_MG (갑판 낙상)
 */
#ifndef IMU_H_
#define IMU_H_

#include <stdbool.h>
#include <stdint.h>

/* peak_mg: 이벤트 전후 최대 |a| (충격 크기), freefall: 자유낙하 여부.
 * 콜백은 IMU 스레드 컨텍스트에서 호출된다 — 가볍게 유지할 것. */
typedef void (*imu_fall_cb_t)(uint32_t peak_mg, bool freefall);

int imu_init(void);
void imu_start(imu_fall_cb_t on_fall);

bool imu_ok(void);

/* 최근 샘플 (셸/테스트용) */
void imu_last(int32_t mg[3], uint32_t *mag_mg);

#endif /* IMU_H_ */
```

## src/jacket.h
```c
/* 메인 상태기계가 셸에 노출하는 인터페이스. */
#ifndef JACKET_H_
#define JACKET_H_

#include <stdbool.h>
#include <stdint.h>

struct jacket_snapshot {
	bool worn;
	bool water;
	bool mob;		/* 로컬 익수 래치 (낙하+물) */
	bool low_batt;
	uint8_t fall_count;
	uint16_t fall_mag_dg;
	uint16_t batt_mv;
	uint8_t seq;
};

void jacket_get_snapshot(struct jacket_snapshot *out);

/* 낙하 이벤트 시뮬레이션 — 보드를 떨어뜨리지 않고 V-PASS 연동을 시험 */
void jacket_simulate_fall(void);

#endif /* JACKET_H_ */
```

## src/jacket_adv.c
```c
#include "jacket_adv.h"

#include <zephyr/kernel.h>
#include <zephyr/bluetooth/bluetooth.h>
#include <zephyr/logging/log.h>

LOG_MODULE_REGISTER(jacket_adv, CONFIG_JACKET_LOG_LEVEL);

#define COMPANY_ID 0xFFFF	/* 개발/시험용 회사 ID */

/* 회사 ID(2) + 페이로드(9) */
static uint8_t mfg_data[2 + 9] = {
	COMPANY_ID & 0xFF, COMPANY_ID >> 8,
	'V', 'J', 1, CONFIG_JACKET_DEVICE_NUM, 0, 0, 0, 0, 0,
};

static const struct bt_data ad[] = {
	BT_DATA_BYTES(BT_DATA_FLAGS, BT_LE_AD_NO_BREDR),
	BT_DATA(BT_DATA_MANUFACTURER_DATA, mfg_data, sizeof(mfg_data)),
	BT_DATA(BT_DATA_NAME_COMPLETE, CONFIG_BT_DEVICE_NAME,
		sizeof(CONFIG_BT_DEVICE_NAME) - 1),
};

static enum jacket_adv_mode cur_mode = JACKET_ADV_OFF;
static K_MUTEX_DEFINE(adv_lock);

#define MS_TO_ADV_UNITS(ms) ((uint32_t)(ms) * 1000 / 625)

static int adv_start(uint32_t interval_ms)
{
	/* non-connectable, identity 주소(FICR 유래 static random — 장치 고정) */
	struct bt_le_adv_param param = {
		.id = BT_ID_DEFAULT,
		.options = BT_LE_ADV_OPT_USE_IDENTITY,
		.interval_min = MS_TO_ADV_UNITS(interval_ms),
		.interval_max = MS_TO_ADV_UNITS(interval_ms) + 16,
	};

	return bt_le_adv_start(&param, ad, ARRAY_SIZE(ad), NULL, 0);
}

int jacket_adv_init(void)
{
	int err = bt_enable(NULL);

	if (err) {
		LOG_ERR("bt_enable 실패 (%d)", err);
	}
	return err;
}

int jacket_adv_set_mode(enum jacket_adv_mode mode)
{
	int err = 0;

	k_mutex_lock(&adv_lock, K_FOREVER);
	if (mode == cur_mode) {
		k_mutex_unlock(&adv_lock);
		return 0;
	}

	if (cur_mode != JACKET_ADV_OFF) {
		bt_le_adv_stop();
	}
	if (mode == JACKET_ADV_NORMAL) {
		err = adv_start(CONFIG_JACKET_ADV_INTERVAL_MS);
	} else if (mode == JACKET_ADV_BURST) {
		err = adv_start(CONFIG_JACKET_ADV_BURST_INTERVAL_MS);
		if (err) {
			/* 컨트롤러가 짧은 간격을 거부하면 일반 간격으로 폴백 */
			LOG_WRN("버스트 간격 거부 (%d) — 일반 간격으로 폴백", err);
			err = adv_start(CONFIG_JACKET_ADV_INTERVAL_MS);
		}
	}

	if (err) {
		LOG_ERR("광고 시작 실패 (%d)", err);
		cur_mode = JACKET_ADV_OFF;
	} else {
		cur_mode = mode;
		LOG_INF("광고 모드: %s",
			mode == JACKET_ADV_OFF ? "off" :
			mode == JACKET_ADV_NORMAL ? "normal" : "burst");
	}
	k_mutex_unlock(&adv_lock);
	return err;
}

enum jacket_adv_mode jacket_adv_mode(void)
{
	return cur_mode;
}

void jacket_adv_update(const struct jacket_adv_status *st)
{
	uint16_t batt = MIN(st->batt_mv, 20 * 255);

	k_mutex_lock(&adv_lock, K_FOREVER);
	mfg_data[6] = st->flags;
	mfg_data[7] = st->seq;
	mfg_data[8] = st->fall_count;
	mfg_data[9] = st->fall_mag_dg;
	mfg_data[10] = (uint8_t)(batt / 20);

	if (cur_mode != JACKET_ADV_OFF) {
		int err = bt_le_adv_update_data(ad, ARRAY_SIZE(ad), NULL, 0);

		if (err) {
			LOG_WRN("광고 데이터 갱신 실패 (%d)", err);
		}
	}
	k_mutex_unlock(&adv_lock);
}
```

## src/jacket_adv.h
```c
/* BLE 브로드캐스트 — non-connectable 광고에 상태를 실어 V-PASS 로 보낸다.
 *
 * Manufacturer Specific Data (회사 ID 0xFFFF, 개발용) 페이로드 9바이트:
 *
 *   [0] 'V'  [1] 'J'      매직
 *   [2] 버전 (1)
 *   [3] 장치 번호          CONFIG_JACKET_DEVICE_NUM → V-PASS "jacket-<n>"
 *   [4] 플래그             b0 착용, b1 물 감지, b2 낙하 래치, b3 저전압, b4 스트로브
 *   [5] 시퀀스             1초마다 증가 — 수신측(BlueZ)의 중복 필터를 뚫고
 *                          매 패킷이 콜백되도록 페이로드를 항상 변화시킨다
 *   [6] 낙하 카운터        낙하 이벤트마다 증가 (수신측이 새 낙하를 식별)
 *   [7] 낙하 크기          0.1 g 단위
 *   [8] 배터리             VDD [mV] / 20
 *
 * "핑" 의 의미: 착용(worn=1) 광고가 수신되는 것 자체가 생존 신호다.
 * V-PASS 는 마지막 수신 시각으로 신호 두절(수중 전파 차단)을 판정한다.
 */
#ifndef JACKET_ADV_H_
#define JACKET_ADV_H_

#include <stdbool.h>
#include <stdint.h>

#define JACKET_FLAG_WORN     BIT(0)
#define JACKET_FLAG_WATER    BIT(1)
#define JACKET_FLAG_FALL     BIT(2)
#define JACKET_FLAG_LOW_BATT BIT(3)
#define JACKET_FLAG_STROBE   BIT(4)

struct jacket_adv_status {
	uint8_t flags;
	uint8_t seq;
	uint8_t fall_count;
	uint8_t fall_mag_dg;	/* 0.1 g 단위 */
	uint16_t batt_mv;
};

enum jacket_adv_mode {
	JACKET_ADV_OFF,
	JACKET_ADV_NORMAL,	/* CONFIG_JACKET_ADV_INTERVAL_MS */
	JACKET_ADV_BURST,	/* CONFIG_JACKET_ADV_BURST_INTERVAL_MS */
};

int jacket_adv_init(void);
int jacket_adv_set_mode(enum jacket_adv_mode mode);
enum jacket_adv_mode jacket_adv_mode(void);

/* 현재 상태로 광고 데이터를 갱신 (광고 중이 아니면 무시) */
void jacket_adv_update(const struct jacket_adv_status *st);

#endif /* JACKET_ADV_H_ */
```

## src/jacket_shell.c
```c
/* USB 콘솔 벤치 테스트용 `jacket` 셸 명령. */
#include "jacket.h"
#include "jacket_adv.h"
#include "imu.h"
#include "water.h"
#include "strobe.h"
#include "battery.h"

#include <stdlib.h>
#include <string.h>

#include <zephyr/kernel.h>
#include <zephyr/shell/shell.h>

static int cmd_status(const struct shell *sh, size_t argc, char **argv)
{
	ARG_UNUSED(argc); ARG_UNUSED(argv);
	struct jacket_snapshot s;

	jacket_get_snapshot(&s);
	shell_print(sh, "착용: %s   물: %s   익수 래치: %s   스트로브: %s",
		    s.worn ? "예" : "아니오", s.water ? "감지" : "-",
		    s.mob ? "ON" : "-", strobe_active() ? "ON" : "-");
	shell_print(sh, "배터리: %u mV%s   낙하: %u회 (%u.%u g)   seq: %u",
		    s.batt_mv, s.low_batt ? " (저전압)" : "",
		    s.fall_count, s.fall_mag_dg / 10, s.fall_mag_dg % 10,
		    s.seq);
	shell_print(sh, "광고: %s   IMU: %s   전극 Δ: %u.%u%%",
		    jacket_adv_mode() == JACKET_ADV_OFF ? "off" :
		    jacket_adv_mode() == JACKET_ADV_NORMAL ? "normal" : "burst",
		    imu_ok() ? "정상" : "오류",
		    water_last_delta_pm() / 10, water_last_delta_pm() % 10);
	return 0;
}

static int cmd_ledtest(const struct shell *sh, size_t argc, char **argv)
{
	int n = (argc > 1) ? atoi(argv[1]) : 3;

	n = CLAMP(n, 1, 20);
	shell_print(sh, "스트로브 자가진단 %d회", n);
	strobe_selftest(n);
	return 0;
}

static int cmd_strobe(const struct shell *sh, size_t argc, char **argv)
{
	if (argc < 2) {
		shell_print(sh, "usage: jacket strobe on|off");
		return -EINVAL;
	}
	bool on = strcmp(argv[1], "on") == 0;

	strobe_set(on);
	shell_print(sh, "스트로브 %s", on ? "시작 (1 Hz)" : "정지");
	return 0;
}

static int cmd_led(const struct shell *sh, size_t argc, char **argv)
{
	if (argc < 2) {
		shell_print(sh, "usage: jacket led on|off  (상시 점등 — 전류 실측용, 수 초 이상 금지)");
		return -EINVAL;
	}
	bool on = strcmp(argv[1], "on") == 0;

	strobe_force(on);
	shell_print(sh, "LED %s", on ? "상시 점등 — 오래 켜두지 말 것!" : "소등");
	return 0;
}

static int cmd_water(const struct shell *sh, size_t argc, char **argv)
{
	ARG_UNUSED(argc); ARG_UNUSED(argv);
	uint16_t fwd = 0, rev = 0;
	uint16_t bf = 0, br = 0;
	int err = water_measure_once(&fwd, &rev);

	if (err) {
		shell_error(sh, "측정 실패 (%d)", err);
		return err;
	}
	shell_print(sh, "정방향 %u.%u%%  역방향 %u.%u%% (VDD 대비)",
		    fwd / 10, fwd % 10, rev / 10, rev % 10);
	if (water_baseline(&bf, &br)) {
		int delta = MAX(MAX((int)fwd - bf, (int)rev - br), 0);

		shell_print(sh,
			    "기준선 정 %u.%u%% / 역 %u.%u%% — Δ%d.%d%% → %s "
			    "(임계 %d.%d%%, 연속 %d회)",
			    bf / 10, bf % 10, br / 10, br % 10,
			    delta / 10, delta % 10,
			    delta >= CONFIG_JACKET_WATER_DELTA_PERMILLE
				    ? "젖음" : "건조",
			    CONFIG_JACKET_WATER_DELTA_PERMILLE / 10,
			    CONFIG_JACKET_WATER_DELTA_PERMILLE % 10,
			    CONFIG_JACKET_WATER_CONFIRM_COUNT);
	} else {
		shell_print(sh, "기준선 캡처 중 (부팅 직후)");
	}
	return 0;
}

static int cmd_imu(const struct shell *sh, size_t argc, char **argv)
{
	ARG_UNUSED(argc); ARG_UNUSED(argv);
	int32_t mg[3];
	uint32_t mag;

	if (!imu_ok()) {
		shell_error(sh, "IMU 미검출 — 배선/주소(0x6A) 확인");
		return -ENODEV;
	}
	imu_last(mg, &mag);
	shell_print(sh, "X %+d  Y %+d  Z %+d  |a| %u mg (정지 시 약 1000)",
		    mg[0], mg[1], mg[2], mag);
	return 0;
}

static int cmd_batt(const struct shell *sh, size_t argc, char **argv)
{
	ARG_UNUSED(argc); ARG_UNUSED(argv);
	int mv = battery_read_mv();

	if (mv < 0) {
		shell_error(sh, "측정 실패 (%d)", mv);
		return mv;
	}
	shell_print(sh, "VDD %d mV (AA 리튬 2셀: 신품 ~3300, 교체 <%d)",
		    mv, CONFIG_JACKET_LOW_BATT_MV);
	return 0;
}

static int cmd_fall(const struct shell *sh, size_t argc, char **argv)
{
	ARG_UNUSED(argc); ARG_UNUSED(argv);
	shell_print(sh, "낙하 이벤트 시뮬레이션 (착용 상태에서만 처리됨)");
	jacket_simulate_fall();
	return 0;
}

SHELL_STATIC_SUBCMD_SET_CREATE(sub_jacket,
	SHELL_CMD(status, NULL, "현재 상태", cmd_status),
	SHELL_CMD(ledtest, NULL, "스트로브 자가진단 [횟수]", cmd_ledtest),
	SHELL_CMD(strobe, NULL, "익수 스트로브 on|off", cmd_strobe),
	SHELL_CMD(led, NULL, "LED 상시 점등 on|off (전류 실측용)", cmd_led),
	SHELL_CMD(water, NULL, "전극 1회 측정", cmd_water),
	SHELL_CMD(imu, NULL, "가속도 현재값", cmd_imu),
	SHELL_CMD(batt, NULL, "배터리 전압", cmd_batt),
	SHELL_CMD(fall, NULL, "낙하 이벤트 시뮬레이션", cmd_fall),
	SHELL_SUBCMD_SET_END);

SHELL_CMD_REGISTER(jacket, &sub_jacket, "스마트 구명조끼", NULL);
```

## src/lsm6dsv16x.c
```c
#include "lsm6dsv16x.h"

#include <zephyr/kernel.h>
#include <zephyr/drivers/i2c.h>
#include <zephyr/logging/log.h>

LOG_MODULE_REGISTER(lsm6dsv16x, CONFIG_JACKET_LOG_LEVEL);

#define REG_WHO_AM_I   0x0F
#define WHO_AM_I_VAL   0x70

#define REG_CTRL1      0x10	/* [6:4] OP_MODE_XL, [3:0] ODR_XL */
#define REG_CTRL3      0x12	/* BOOT | BDU | ... | IF_INC | SW_RESET */
#define REG_CTRL8      0x17	/* [1:0] FS_XL */
#define REG_STATUS     0x1E	/* bit0 XLDA */
#define REG_OUTX_L_A   0x28	/* 6바이트 연속 (X/Y/Z, LE) */

#define CTRL3_BDU      BIT(6)
#define CTRL3_IF_INC   BIT(2)
#define CTRL3_SW_RESET BIT(0)

#define CTRL1_ODR_60HZ 0x05	/* 고성능 모드(OP_MODE 000) + 60 Hz */
#define CTRL8_FS_8G    0x02
/* ±8g 감도: 0.244 mg/LSB */
#define SENS_UG_PER_LSB 244

static const struct i2c_dt_spec imu_bus = I2C_DT_SPEC_GET(DT_NODELABEL(imu));
static bool present;

static int reg_write(uint8_t reg, uint8_t val)
{
	return i2c_reg_write_byte_dt(&imu_bus, reg, val);
}

static int reg_read(uint8_t reg, uint8_t *val)
{
	return i2c_reg_read_byte_dt(&imu_bus, reg, val);
}

int lsm6dsv16x_init(void)
{
	uint8_t id = 0;

	if (!device_is_ready(imu_bus.bus)) {
		LOG_ERR("I2C 버스가 준비되지 않음");
		return -ENODEV;
	}

	/* 전원 인가 직후 부팅 시간(수 ms)을 감안해 몇 번 재시도 */
	for (int i = 0; i < 5; i++) {
		if (reg_read(REG_WHO_AM_I, &id) == 0 && id == WHO_AM_I_VAL) {
			break;
		}
		k_msleep(10);
	}
	if (id != WHO_AM_I_VAL) {
		LOG_ERR("WHO_AM_I 불일치: 0x%02x (기대 0x70) — 배선/주소(SA0) 확인",
			id);
		return -ENODEV;
	}

	int err = reg_write(REG_CTRL3, CTRL3_SW_RESET);

	if (err) {
		return err;
	}
	k_msleep(20);

	err = reg_write(REG_CTRL3, CTRL3_BDU | CTRL3_IF_INC);
	err = err ? err : reg_write(REG_CTRL8, CTRL8_FS_8G);
	err = err ? err : reg_write(REG_CTRL1, CTRL1_ODR_60HZ);
	if (err) {
		LOG_ERR("설정 실패 (%d)", err);
		return err;
	}

	present = true;
	LOG_INF("LSM6DSV16X 준비 완료 (±8g, 60 Hz)");
	return 0;
}

bool lsm6dsv16x_present(void)
{
	return present;
}

int lsm6dsv16x_read_mg(int32_t mg[3])
{
	uint8_t status;
	uint8_t raw[6];

	if (!present) {
		return -ENODEV;
	}
	if (reg_read(REG_STATUS, &status) != 0) {
		return -EIO;
	}
	if (!(status & BIT(0))) {	/* XLDA */
		return -EAGAIN;
	}
	if (i2c_burst_read_dt(&imu_bus, REG_OUTX_L_A, raw, sizeof(raw)) != 0) {
		return -EIO;
	}

	for (int i = 0; i < 3; i++) {
		int16_t v = (int16_t)((raw[2 * i + 1] << 8) | raw[2 * i]);

		mg[i] = ((int32_t)v * SENS_UG_PER_LSB) / 1000;
	}
	return 0;
}
```

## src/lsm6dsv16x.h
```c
/* LSM6DSV16X 경량 I2C 드라이버 — 가속도 전용.
 *
 * Zephyr 인트리 센서 드라이버 대신 필요한 레지스터만 직접 다룬다.
 * 낙하 판정은 소프트웨어(imu.c)에서 하므로 온칩 자유낙하 인터럽트는
 * 쓰지 않는다 (INT1 배선 확정 후 확장 여지).
 */
#ifndef LSM6DSV16X_H_
#define LSM6DSV16X_H_

#include <stdbool.h>
#include <stdint.h>

/* 초기화: SW 리셋 → BDU/IF_INC → ±8g → 60 Hz 고성능 모드. 0 또는 -errno */
int lsm6dsv16x_init(void);

bool lsm6dsv16x_present(void);

/* 새 샘플이 있으면 mg 단위 XYZ 를 채우고 0, 데이터 없음 -EAGAIN, 오류 -EIO */
int lsm6dsv16x_read_mg(int32_t mg[3]);

#endif /* LSM6DSV16X_H_ */
```
